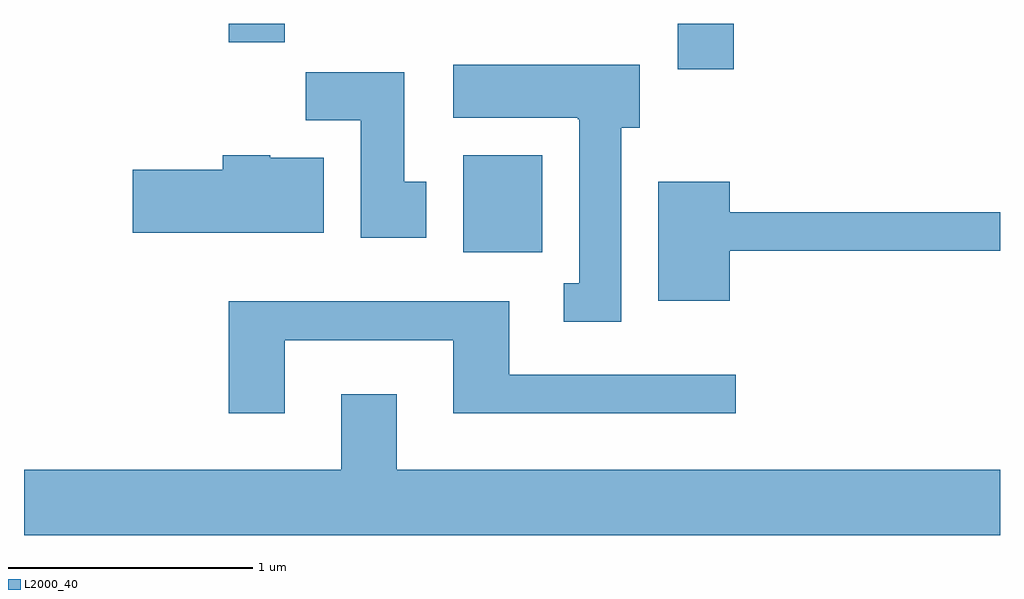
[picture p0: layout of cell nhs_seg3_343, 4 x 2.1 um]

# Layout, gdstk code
import gdstk
lib = gdstk.Library(unit=1e-6, precision=1e-09)
def R(c, l, rs):  # rectangles x0, y0, x1, y1
    for r in rs: c.add(gdstk.rectangle(r[:2], r[2:], *l))
def P(c, l, *ps):  # polygons
    for p in ps: c.add(gdstk.Polygon(p, *l))
L2000_40 = (2000, 40)

nhs_seg3_343 = lib.new_cell('nhs_seg3_343')
R(nhs_seg3_343, L2000_40, [(197.411,1124.956,197.734,1125.354), (198.291,1125.706,198.519,1125.892), (196.451,1125.816,196.679,1125.892)])
P(nhs_seg3_343, L2000_40, [(198.059,1125.466),(198.134,1125.466),(198.134,1125.724),(197.371,1125.724),(197.371,1125.506),(197.88,1125.506),(197.88,1125.5),(197.886,1125.5),(197.886,1124.829),(197.823,1124.829),(197.823,1124.671),(198.059,1124.671)],
  [(197.259,1125.244),(197.169,1125.244),(197.169,1125.694),(196.766,1125.694),(196.766,1125.496),(196.991,1125.496),(196.991,1125.016),(197.259,1125.016)],
  [(196.839,1125.344),(196.62,1125.344),(196.62,1125.354),(196.426,1125.354),(196.426,1125.294),(196.056,1125.294),(196.056,1125.036),(196.839,1125.036)],
  [(198.504,1124.961),(199.611,1124.961),(199.611,1125.119),(198.504,1125.119),(198.504,1125.244),(198.211,1125.244),(198.211,1124.756),(198.504,1124.756)],
  [(196.679,1124.596),(197.371,1124.596),(197.371,1124.296),(198.528,1124.296),(198.528,1124.454),(197.599,1124.454),(197.599,1124.754),(196.451,1124.754),(196.451,1124.296),(196.679,1124.296)],
  [(199.611,1124.064),(197.139,1124.064),(197.139,1124.374),(196.911,1124.374),(196.911,1124.064),(195.611,1124.064),(195.611,1123.796),(199.611,1123.796)])

lib.write_gds('nhs_seg3_343.gds')
